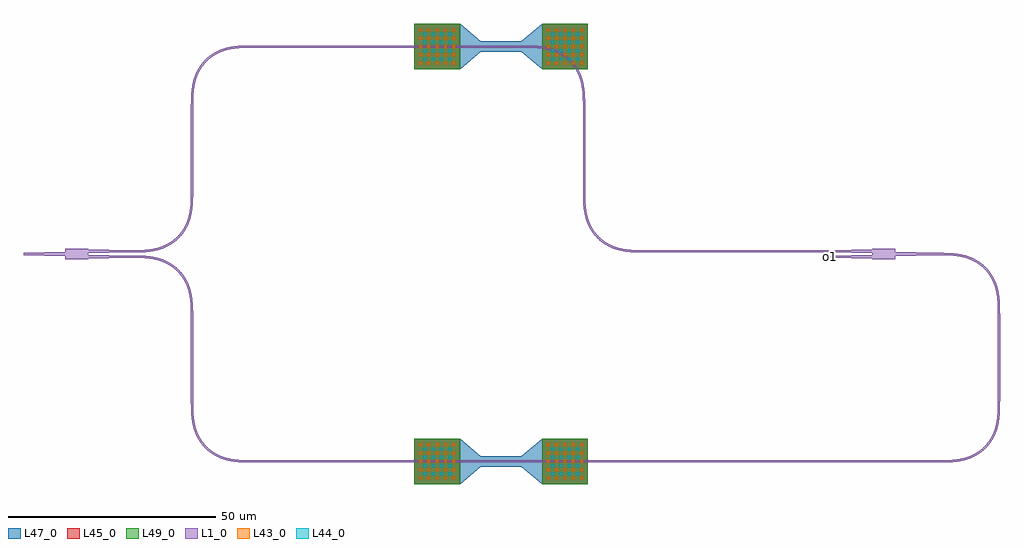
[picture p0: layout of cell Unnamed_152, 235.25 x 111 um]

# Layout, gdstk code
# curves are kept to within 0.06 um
from math import pi, radians
import gdstk
lib = gdstk.Library(unit=1e-6, precision=1e-09)
def R(c, l, rs):  # rectangles x0, y0, x1, y1
    for r in rs: c.add(gdstk.rectangle(r[:2], r[2:], *l))
def A(c, l, x, y, w, h, nx, ny, dx, dy):  # array of equal rectangles
    R(c, l, [(x+i*dx, y+j*dy, x+i*dx+w, y+j*dy+h) for i in range(nx) for j in range(ny)])
def P(c, l, *ps):  # polygons
    for p in ps: c.add(gdstk.Polygon(p, *l))
L1_0 = (1, 0)
L43_0 = (43, 0)
L44_0 = (44, 0)
L45_0 = (45, 0)
L47_0 = (47, 0)
L49_0 = (49, 0)

mmi1x2_wnone_wt1_lt10_l_ = lib.new_cell('mmi1x2_WNone_WT1_LT10_L_4e0f7121')
P(mmi1x2_wnone_wt1_lt10_l_, L1_0, [(0,-1.25),(0,-0.5),(-10,-0.25),(-10,0.25),(0,0.5),(0,1.25),(5.5,1.25),(5.5,1.125),(15.5,0.875),(15.5,0.375),(5.5,0.125),(5.5,-0.125),(15.5,-0.375),(15.5,-0.875),(5.5,-1.125),(5.5,-1.25)])

straight_heater_metal_u_ = lib.new_cell('straight_heater_metal_u_385113d0')
R(straight_heater_metal_u_, L1_0, [(0,-0.25,10,0.25)])
A(straight_heater_metal_u_, L43_0, -14.75, -4.35, 0.7, 0.7, 5, 5, 2, 2)
A(straight_heater_metal_u_, L43_0, 16.05, -4.35, 0.7, 0.7, 5, 5, 2, 2)
A(straight_heater_metal_u_, L44_0, -13.75, -3.35, 0.7, 0.7, 4, 4, 2, 2)
A(straight_heater_metal_u_, L44_0, 17.05, -3.35, 0.7, 0.7, 4, 4, 2, 2)
R(straight_heater_metal_u_, L45_0, [(-15.9,-5.5,-4.9,5.5), (14.9,-5.5,25.9,5.5)])
P(straight_heater_metal_u_, L47_0, [(-15.9,-5.5),(-15.9,5.5),(-4.9,5.5),(0.1,1.25),(9.9,1.25),(14.9,5.5),(25.9,5.5),(25.9,-5.5),(14.9,-5.5),(9.9,-1.25),(0.1,-1.25),(-4.9,-5.5)])
R(straight_heater_metal_u_, L49_0, [(-15.9,-5.5,-4.9,5.5), (14.9,-5.5,25.9,5.5)])

bend_euler_r15_a90_p0p5_ = lib.new_cell('bend_euler_R15_A90_P0p5_14998747')
P(bend_euler_r15_a90_p0p5_, L1_0, [(0,-0.25),(0,0.25),(2.31,0.273),(4.332,0.406),(5.924,0.652),(7.346,1.03),(8.467,1.471),(9.541,2.045),(10.54,2.741),(11.45,3.55),(12.259,4.46),(12.955,5.459),(13.529,6.533),(13.97,7.654),(14.348,9.076),(14.594,10.668),(14.727,12.69),(14.75,15),(15.25,15),(15.222,12.537),(15.106,10.752),(14.891,9.246),(14.569,7.896),(14.099,6.583),(13.527,5.441),(12.739,4.262),(11.804,3.196),(10.738,2.261),(9.559,1.473),(8.417,0.901),(7.104,0.431),(5.754,0.109),(4.248,-0.106),(2.463,-0.222)])

straight_l19p375_n2_css_ = lib.new_cell('straight_L19p375_N2_CSs_3cf19edc')
R(straight_l19p375_n2_css_, L1_0, [(0,-0.25,19.375,0.25)])

straight_l54p5_n2_csstri = lib.new_cell('straight_L54p5_N2_CSstrip_WNone')
R(straight_l54p5_n2_csstri, L1_0, [(0,-0.25,54.5,0.25)])

straight_l44p5_n2_csstri = lib.new_cell('straight_L44p5_N2_CSstrip_WNone')
R(straight_l44p5_n2_csstri, L1_0, [(0,-0.25,44.5,0.25)])

straight_l100_n2_csstrip = lib.new_cell('straight_L100_N2_CSstrip_WNone')
R(straight_l100_n2_csstrip, L1_0, [(0,-0.25,100,0.25)])

straight_l20_n2_csstrip_ = lib.new_cell('straight_L20_N2_CSstrip_WNone')
R(straight_l20_n2_csstrip_, L1_0, [(0,-0.25,20,0.25)])

unnamed_152 = lib.new_cell('Unnamed_152')
P(unnamed_152, L1_0, [(184.5,-0.875),(184.25,-0.625),(184.438,-0.437),(184.475,-0.437),(184.285,-0.625),(184.475,-0.625),(184.475,-0.437),(184.438,-0.437),(184.5,-0.375)],
  [(184.5,0.375),(184.25,0.625),(184.438,0.813),(184.475,0.813),(184.285,0.625),(184.475,0.625),(184.475,0.813),(184.438,0.813),(184.5,0.875)])
unnamed_152.add(gdstk.Reference(mmi1x2_wnone_wt1_lt10_l_, (0,0)))
unnamed_152.add(gdstk.Reference(mmi1x2_wnone_wt1_lt10_l_, (200,0), rotation=pi, x_reflection=True))
unnamed_152.add(gdstk.Reference(straight_heater_metal_u_, (100,50)))
unnamed_152.add(gdstk.Reference(straight_heater_metal_u_, (100,-50)))
unnamed_152.add(gdstk.Reference(bend_euler_r15_a90_p0p5_, (30.5,15.625), rotation=3*pi/2, x_reflection=True))
unnamed_152.add(gdstk.Reference(bend_euler_r15_a90_p0p5_, (45.5,50), rotation=pi))
unnamed_152.add(gdstk.Reference(straight_l19p375_n2_css_, (30.5,35), rotation=3*pi/2))
unnamed_152.add(gdstk.Reference(straight_l54p5_n2_csstri, (45.5,50)))
unnamed_152.add(gdstk.Reference(bend_euler_r15_a90_p0p5_, (30.5,-15.625), rotation=pi/2))
unnamed_152.add(gdstk.Reference(bend_euler_r15_a90_p0p5_, (45.5,-50), rotation=pi, x_reflection=True))
unnamed_152.add(gdstk.Reference(straight_l19p375_n2_css_, (30.5,-35), rotation=pi/2))
unnamed_152.add(gdstk.Reference(straight_l54p5_n2_csstri, (45.5,-50)))
unnamed_152.add(gdstk.Reference(bend_euler_r15_a90_p0p5_, (125,35), rotation=pi/2))
unnamed_152.add(gdstk.Reference(bend_euler_r15_a90_p0p5_, (140,0.625), rotation=pi, x_reflection=True))
unnamed_152.add(gdstk.Reference(straight_l19p375_n2_css_, (125,15.625), rotation=pi/2))
unnamed_152.add(gdstk.Reference(straight_l44p5_n2_csstri, (140,0.625)))
unnamed_152.add(gdstk.Reference(bend_euler_r15_a90_p0p5_, (225,-35), rotation=3*pi/2, x_reflection=True))
unnamed_152.add(gdstk.Reference(straight_l100_n2_csstrip, (210,-50), rotation=pi))
unnamed_152.add(gdstk.Reference(bend_euler_r15_a90_p0p5_, (210,0), x_reflection=True))
unnamed_152.add(gdstk.Reference(straight_l20_n2_csstrip_, (225,-15), rotation=3*pi/2))
unnamed_152.add(gdstk.Label('o1', (184.5,-0.625), layer=1, texttype=0))
unnamed_152.add(gdstk.Label('o2', (184.5,0.625), layer=1, texttype=0))

lib.write_gds('Unnamed_152.gds')
